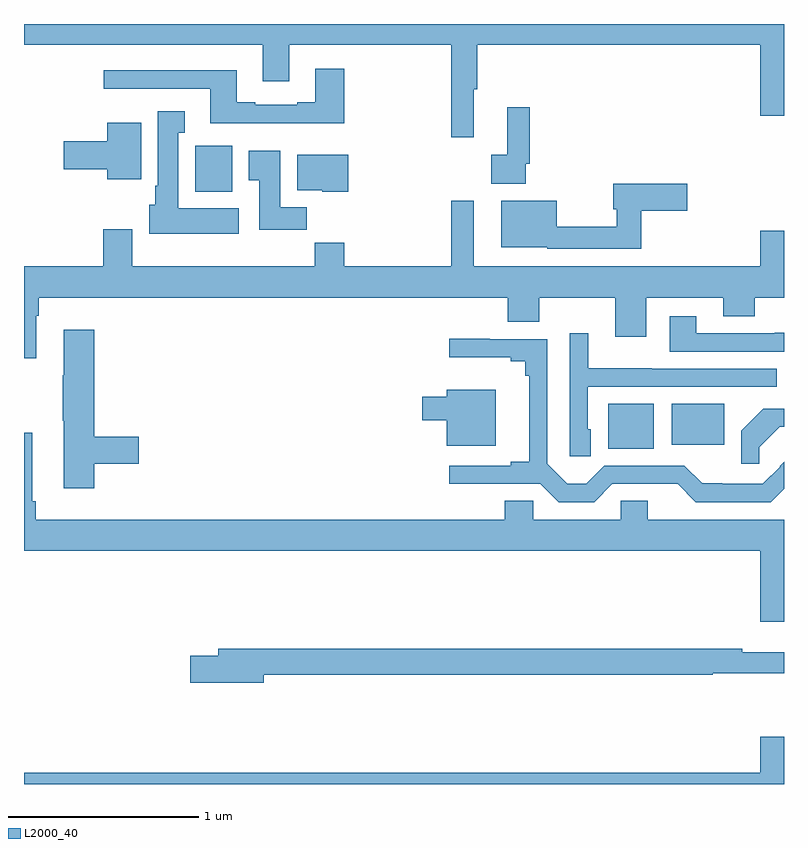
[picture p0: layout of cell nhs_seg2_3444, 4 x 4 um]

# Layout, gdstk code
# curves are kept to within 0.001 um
import gdstk
lib = gdstk.Library(unit=1e-6, precision=1e-09)
def R(c, l, rs):  # rectangles x0, y0, x1, y1
    for r in rs: c.add(gdstk.rectangle(r[:2], r[2:], *l))
def P(c, l, *ps):  # polygons
    for p in ps: c.add(gdstk.Polygon(p, *l))
L2000_40 = (2000, 40)

nhs_seg2_3444 = lib.new_cell('nhs_seg2_3444')
R(nhs_seg2_3444, L2000_40, [(296.075,589.565,296.314,589.801), (296.408,589.586,296.686,589.801), (293.9,590.918,294.097,591.16)])
P(nhs_seg2_3444, L2000_40, [(295.367,591.456),(295.385,591.456),(295.385,591.692),(296.876,591.692),(296.876,591.318),(297,591.318),(297,591.8),(293,591.8),(293,591.692),(294.257,591.692),(294.257,591.498),(294.397,591.498),(294.397,591.692),(295.249,591.692),(295.249,591.204),(295.367,591.204)],
  [(294.686,591.565),(294.533,591.565),(294.533,591.388),(294.437,591.388),(294.437,591.375),(294.217,591.375),(294.217,591.388),(294.121,591.388),(294.121,591.556),(293.421,591.556),(293.421,591.459),(293.981,591.459),(293.981,591.278),(294.686,591.278)],
  [(295.641,591.064),(295.661,591.064),(295.661,591.361),(295.544,591.361),(295.544,591.113),(295.458,591.113),(295.458,590.96),(295.641,590.96)],
  [(294.13,590.83),(293.812,590.83),(293.812,591.227),(293.845,591.227),(293.845,591.34),(293.705,591.34),(293.705,590.95),(293.69,590.95),(293.69,590.85),(293.66,590.85),(293.66,590.696),(294.13,590.696)],
  [(293.617,591.28),(293.438,591.28),(293.438,591.182),(293.208,591.182),(293.208,591.035),(293.438,591.035),(293.438,590.984),(293.617,590.984)],
  [(294.488,590.836),(294.349,590.836),(294.349,591.133),(294.182,591.133),(294.182,590.977),(294.239,590.977),(294.239,590.718),(294.488,590.718)],
  [(294.706,591.112),(294.437,591.112),(294.437,590.924),(294.57,590.924),(294.57,590.918),(294.706,590.918)],
  [(296.249,590.818),(296.491,590.818),(296.491,590.96),(296.102,590.96),(296.102,590.825),(296.121,590.825),(296.121,590.732),(295.804,590.732),(295.804,590.869),(295.511,590.869),(295.511,590.624),(295.755,590.624),(295.755,590.616),(296.249,590.616)],
  [(293.065,590.264),(293.078,590.264),(293.078,590.36),(295.547,590.36),(295.547,590.232),(295.711,590.232),(295.711,590.36),(296.111,590.36),(296.111,590.154),(296.275,590.154),(296.275,590.36),(296.681,590.36),(296.681,590.261),(296.845,590.261),(296.845,590.36),(297,590.36),(297,590.713),(296.876,590.713),(296.876,590.524),(295.366,590.524),(295.366,590.869),(295.249,590.869),(295.249,590.524),(294.686,590.524),(294.686,590.648),(294.529,590.648),(294.529,590.524),(293.569,590.524),(293.569,590.719),(293.417,590.719),(293.417,590.524),(293,590.524),(293,590.04),(293.065,590.04)],
  [(297,590.174),(296.951,590.174),(296.951,590.172),(296.539,590.172),(296.539,590.263),(296.399,590.263),(296.399,590.076),(297,590.076)],
  [(293.369,589.486),(293.605,589.486),(293.605,589.628),(293.369,589.628),(293.369,590.191),(293.21,590.191),(293.21,589.952),(293.203,589.952),(293.203,589.711),(293.21,589.711),(293.21,589.356),(293.369,589.356)],
  [(295.984,589.668),(295.968,589.668),(295.968,589.89),(296.963,589.89),(296.963,589.986),(296.303,589.986),(296.303,589.987),(295.969,589.987),(295.969,590.173),(295.872,590.173),(295.872,589.525),(295.984,589.525)],
  [(296.097,589.38),(296.441,589.379),(296.535,589.284),(296.929,589.284),(297,589.355),(297,589.495),(296.977,589.472),(296.979,589.47),(296.889,589.38),(296.674,589.38),(296.674,589.382),(296.57,589.382),(296.475,589.476),(296.055,589.476),(295.96,589.381),(295.859,589.381),(295.755,589.485),(295.755,590.142),(295.451,590.142),(295.451,590.144),(295.239,590.144),(295.239,590.045),(295.562,590.045),(295.562,590.026),(295.639,590.026),(295.639,589.949),(295.658,589.949),(295.658,589.496),(295.562,589.496),(295.562,589.476),(295.239,589.476),(295.239,589.379),(295.718,589.38),(295.814,589.284),(296.001,589.284)],
  [(295.483,589.876),(295.226,589.876),(295.226,589.837),(295.095,589.837),(295.095,589.715),(295.226,589.715),(295.226,589.58),(295.483,589.58)],
  [(296.87,589.572),(296.978,589.68),(297,589.68),(297,589.776),(296.891,589.776),(296.775,589.66),(296.775,589.485),(296.87,589.485)],
  [(297,589.192),(296.284,589.192),(296.284,589.29),(296.142,589.29),(296.142,589.192),(295.68,589.192),(295.68,589.29),(295.529,589.29),(295.529,589.192),(293.063,589.192),(293.063,589.288),(293.044,589.288),(293.044,589.648),(293,589.648),(293,589.028),(296.876,589.028),(296.876,588.654),(297,588.654)],
  [(294.262,588.376),(296.626,588.376),(296.626,588.384),(297,588.384),(297,588.493),(296.78,588.493),(296.78,588.512),(294.023,588.512),(294.023,588.476),(293.874,588.476),(293.874,588.334),(294.262,588.334)],
  [(297,588.049),(296.876,588.049),(296.876,587.86),(293,587.86),(293,587.8),(297,587.8)])

lib.write_gds('nhs_seg2_3444.gds')
